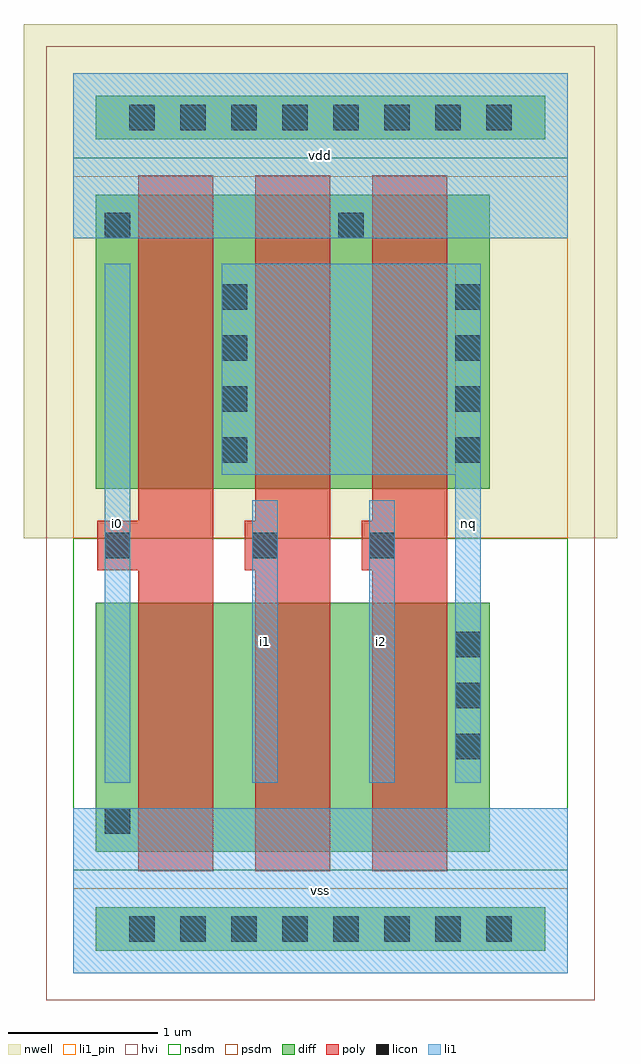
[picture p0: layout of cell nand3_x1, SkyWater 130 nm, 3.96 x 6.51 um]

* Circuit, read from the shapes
.subckt nand3_x1 i0 i1 i2 nq vdd vss
XM1 n1 i0 vss VSUBS sky130_fd_pr__nfet_g5v0d10v5 w=1.66 l=0.5
XM2 n2 i1 n1 VSUBS sky130_fd_pr__nfet_g5v0d10v5 w=1.66 l=0.5
XM3 nq i2 n2 VSUBS sky130_fd_pr__nfet_g5v0d10v5 w=1.66 l=0.5
XM4 nq i0 vdd n3 sky130_fd_pr__pfet_g5v0d10v5 w=1.96 l=0.5
XM5 vdd i1 nq n3 sky130_fd_pr__pfet_g5v0d10v5 w=1.96 l=0.5
XM6 nq i2 vdd n3 sky130_fd_pr__pfet_g5v0d10v5 w=1.96 l=0.5
.ends

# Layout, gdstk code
import gdstk
lib = gdstk.Library(unit=1e-6, precision=1e-09)
def R(c, l, rs):  # rectangles x0, y0, x1, y1
    for r in rs: c.add(gdstk.rectangle(r[:2], r[2:], *l))
def A(c, l, x, y, w, h, nx, ny, dx, dy):  # array of equal rectangles
    R(c, l, [(x+i*dx, y+j*dy, x+i*dx+w, y+j*dy+h) for i in range(nx) for j in range(ny)])
def P(c, l, *ps):  # polygons
    for p in ps: c.add(gdstk.Polygon(p, *l))
nwell = (64, 20)
diff = (65, 20)
poly = (66, 20)
licon = (66, 44)
li1_pin = (67, 16)
li1 = (67, 20)
hvi = (75, 20)
nsdm = (93, 44)
psdm = (94, 20)

nand3_x1 = lib.new_cell('nand3_x1')
R(nand3_x1, nwell, [(-0.33,2.9,3.63,6.33)])
R(nand3_x1, diff, [(0.15,0.15,3.15,0.44), (0.15,0.81,2.78,2.47), (0.15,3.23,2.78,5.19), (0.15,5.56,3.15,5.85)])
P(nand3_x1, poly, [(0.435,0.68),(0.435,2.685),(0.16,2.685),(0.16,3.015),(0.435,3.015),(0.435,5.32),(0.935,5.32),(0.935,0.68)],
  [(1.215,0.68),(1.215,2.685),(1.145,2.685),(1.145,3.015),(1.215,3.015),(1.215,5.32),(1.715,5.32),(1.715,0.68)],
  [(1.995,0.68),(1.995,2.685),(1.925,2.685),(1.925,3.015),(1.995,3.015),(1.995,5.32),(2.495,5.32),(2.495,0.68)])
A(nand3_x1, licon, 0.375, 0.21, 0.17, 0.17, 8, 2, 0.34, 5.41)
A(nand3_x1, licon, 2.55, 1.425, 0.17, 0.17, 1, 3, 0, 0.34)
A(nand3_x1, licon, 0.99, 3.405, 0.17, 0.17, 1, 4, 0, 0.34)
A(nand3_x1, licon, 2.55, 3.405, 0.17, 0.17, 1, 4, 0, 0.34)
R(nand3_x1, licon, [(0.21,0.93,0.38,1.1), (0.21,2.765,0.38,2.935), (1.195,2.765,1.365,2.935), (1.975,2.765,2.145,2.935), (0.21,4.9,0.38,5.07), (1.77,4.9,1.94,5.07)])
R(nand3_x1, li1_pin, [(0,0,3.3,1.1), (0.21,1.27,0.38,4.73), (1.195,1.27,1.365,3.155), (1.975,1.27,2.145,3.155), (2.55,1.27,2.72,4.73), (0,4.9,3.3,6)])
R(nand3_x1, li1, [(0,0,3.3,1.1), (0.21,1.27,0.38,4.73), (1.195,1.27,1.365,3.155), (1.975,1.27,2.145,3.155), (0,4.9,3.3,6)])
P(nand3_x1, li1, [(2.55,1.27),(2.55,3.325),(0.99,3.325),(0.99,4.73),(2.72,4.73),(2.72,1.27)])
R(nand3_x1, hvi, [(-0.18,-0.18,3.48,6.18)])
R(nand3_x1, nsdm, [(0,0.685,3.3,2.9), (0,5.435,3.3,6)])
R(nand3_x1, psdm, [(0,0,3.3,0.565), (0,2.9,3.3,5.315)])
nand3_x1.add(gdstk.Label('vss', (1.65,0.55), layer=67, texttype=16))
nand3_x1.add(gdstk.Label('vdd', (1.65,5.45), layer=67, texttype=16))
nand3_x1.add(gdstk.Label('i0', (0.295,3), layer=67, texttype=16))
nand3_x1.add(gdstk.Label('nq', (2.635,3), layer=67, texttype=16))
nand3_x1.add(gdstk.Label('i1', (1.28,2.213), layer=67, texttype=16))
nand3_x1.add(gdstk.Label('i2', (2.06,2.213), layer=67, texttype=16))

lib.write_gds('nand3_x1.gds')
